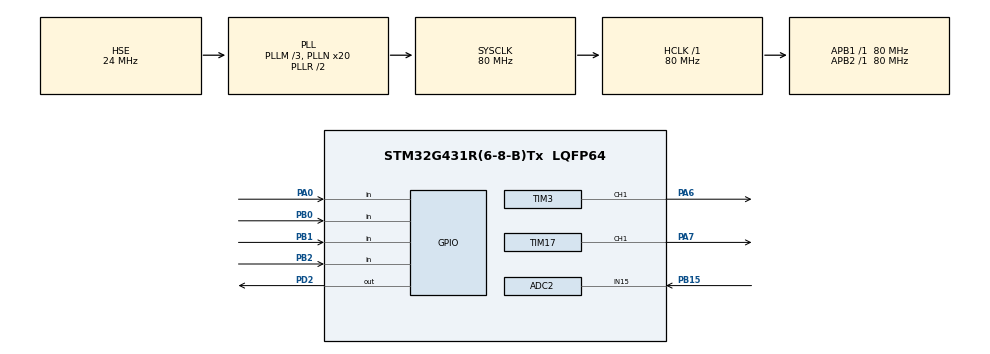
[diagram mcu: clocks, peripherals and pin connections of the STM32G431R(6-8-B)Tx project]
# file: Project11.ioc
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ADC2.Channel-0\#ChannelRegularConversion=ADC_CHANNEL_15
ADC2.NbrOfConversionFlag=1
ADC2.OffsetNumber-0\#ChannelRegularConversion=ADC_OFFSET_NONE
ADC2.Rank-0\#ChannelRegularConversion=1
ADC2.SamplingTime-0\#ChannelRegularConversion=ADC_SAMPLETIME_640CYCLES_5
Mcu.Family=STM32G4
Mcu.Name=STM32G431R(6-8-B)Tx
Mcu.Package=LQFP64
NVIC.PriorityGroup=NVIC_PRIORITYGROUP_4
PA0.Signal=GPIO_Input
PA6.Signal=S_TIM3_CH1
PA7.Signal=S_TIM17_CH1
PB0.Signal=GPIO_Input
PB1.Signal=GPIO_Input
PB15.Mode=IN15-Single-Ended
PB15.Signal=ADC2_IN15
PB2.Signal=GPIO_Input
PD2.PinState=GPIO_PIN_SET
PD2.Signal=GPIO_Output
PF0-OSC_IN.Mode=HSE-External-Oscillator
PF0-OSC_IN.Signal=RCC_OSC_IN
PF1-OSC_OUT.Mode=HSE-External-Oscillator
PF1-OSC_OUT.Signal=RCC_OSC_OUT
ProjectManager.HeapSize=0x200
ProjectManager.StackSize=0x400
ProjectManager.TargetToolchain=MDK-ARM V5.27
RCC.ADC12Freq_Value=80000000
RCC.AHBFreq_Value=80000000
RCC.APB1Freq_Value=80000000
RCC.APB1TimFreq_Value=80000000
RCC.APB2Freq_Value=80000000
RCC.APB2TimFreq_Value=80000000
RCC.CortexFreq_Value=80000000
RCC.EXTERNAL_CLOCK_VALUE=12288000
RCC.HCLKFreq_Value=80000000
RCC.HSE_VALUE=24000000
RCC.HSI48_VALUE=48000000
RCC.HSI_VALUE=16000000
RCC.LSE_VALUE=32768
RCC.PLLM=RCC_PLLM_DIV3
RCC.PLLN=20
RCC.PLLSourceVirtual=RCC_PLLSOURCE_HSE
RCC.SYSCLKFreq_VALUE=80000000
RCC.SYSCLKSource=RCC_SYSCLKSOURCE_PLLCLK
RCC.USBFreq_Value=80000000
RCC.VCOOutputFreq_Value=160000000
SH.S_TIM17_CH1.0=TIM17_CH1,PWM Generation1 CH1
SH.S_TIM3_CH1.0=TIM3_CH1,PWM Generation1 CH1
TIM17.AutoReloadPreload=TIM_AUTORELOAD_PRELOAD_ENABLE
TIM17.Channel=TIM_CHANNEL_1
TIM17.PeriodNoDither=4999
TIM17.Prescaler=79
TIM17.PulseNoDither_1=500
TIM3.AutoReloadPreload=TIM_AUTORELOAD_PRELOAD_ENABLE
TIM3.Channel-PWM\ Generation1\ CH1=TIM_CHANNEL_1
TIM3.PeriodNoDither=9999
TIM3.Prescaler=79
TIM3.PulseNoDither_1=1000
VP_SYS_VS_DBSignals.Mode=DisableDeadBatterySignals
VP_TIM17_VS_ClockSourceINT.Mode=Enable_Timer
VP_TIM3_VS_ClockSourceINT.Mode=Internal
board=custom

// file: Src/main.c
/* USER CODE BEGIN Header */
/**
  ******************************************************************************
  * @file           : main.c
  * @brief          : Main program body
  ******************************************************************************
  * @attention
  *
  * <h2><center>&copy; Copyright (c) 2022 STMicroelectronics.
  * All rights reserved.</center></h2>
  *
  * This software component is licensed by ST under BSD 3-Clause license,
  * the "License"; You may not use this file except in compliance with the
  * License. You may obtain a copy of the License at:
  *                        opensource.org/licenses/BSD-3-Clause
  *
  ******************************************************************************
  */
/* USER CODE END Header */

#include "main.h"
#include "adc.h"
#include "tim.h"
#include "gpio.h"

/* USER CODE BEGIN Includes */
//#include "lcd.h"
/* USER CODE END Includes */

/* USER CODE BEGIN PTD */
uint8_t AUTO_MANU=1;
uint8_t Data_Para=1;
uint8_t Duty_A6=10;
uint8_t Duty_A7=10;
uint8_t Flag_count1=0;
uint8_t Flag_count2=0;
uint8_t str_it[20];
#define B1 HAL_GPIO_ReadPin(GPIOB, GPIO_PIN_0)
#define B2 HAL_GPIO_ReadPin(GPIOB, GPIO_PIN_1)
#define B3 HAL_GPIO_ReadPin(GPIOB, GPIO_PIN_2)
#define B4 HAL_GPIO_ReadPin(GPIOA, GPIO_PIN_0)

/* USER CODE END PTD */

void SystemClock_Config(void);

/* USER CODE BEGIN 0 */
void keyscan(void)
{
	if(Data_Para)
	{
			if(B1==RESET)
			{
				HAL_Delay(10);
				if(B1==RESET)
				{
					Data_Para=!Data_Para;
					LCD_Clear(Black);
//					LCD_SetBackColor(Black);
//					LCD_SetTextColor(White);
					mode_change();
					Control_led12();
				}
				while(!B1);

			}
			else if(B4==RESET)
			{
				HAL_Delay(10);
				if(B4==RESET)
				{
					AUTO_MANU=!AUTO_MANU;
					LCD_Clear(Black);
//					LCD_SetBackColor(Black);
//					LCD_SetTextColor(White);
					mode_change();
					Control_led12();
				}
				while(!B4);

			}
	}
	else
	{
		if(B1==RESET)
		{
			HAL_Delay(10);
			if(B1==RESET)
			{
				Data_Para=!Data_Para;
				LCD_Clear(Black);
//				LCD_SetBackColor(Black);
//				LCD_SetTextColor(White);
				mode_change();
				Control_led12();
			}
			while(!B1);

		}
		if(!AUTO_MANU)
		{
		 if(B2==RESET)
		 {
			HAL_Delay(10);
			if(B2==RESET)
			{
				Duty_A6=Duty_A6+10;
				if(Duty_A6>90)
				Duty_A6=10;
			}
			while(!B2);
		 }
		 else if(B3==RESET)
		 {
			HAL_Delay(10);
			if(B3==RESET)
			{
				Duty_A7=Duty_A7+10;
				if(Duty_A7>90)
				Duty_A7=10;
			}
			while(!B3);
		 }
        }
	}

}

void mode_change(void)
{
	if(Data_Para&&AUTO_MANU)
	{
		Display_Data_Auto();

	}
	else if(Data_Para&&(!AUTO_MANU))
	{
		Display_Data_MANU();
	}
	else if(!Data_Para)
	{
		Display_Para();
	}
}

void Real_Time_Show(void)
{
	if(Flag_count1==1)
	{
		Flag_count1=0;
	if(Data_Para)
	{
	sprintf((char*)str_it,"   V:%.2fV          ",Get_R37value()*3.3/4096);
	LCD_DisplayStringLine(Line2,str_it);
	}
	}
	else if(Flag_count2==1)
	{
		Flag_count2=0;
		if(AUTO_MANU&&(!Data_Para))
		{
			sprintf((char*)str_it,"  PA6:%2d%%         ",Get_R37value()*100/4096);
			__HAL_TIM_SET_COMPARE(&htim3,TIM_CHANNEL_1,Get_R37value()*10000/4096);
			LCD_DisplayStringLine(Line2,str_it);
			sprintf((char*)str_it,"  PA7:%2d%%         ",Get_R37value()*100/4096);
			__HAL_TIM_SET_COMPARE(&htim17,TIM_CHANNEL_1,Get_R37value()*5000/4096);//time3����ֵΪ10000��time17����ֵΪ5000
			LCD_DisplayStringLine(Line4,str_it);
		}
		else if((!AUTO_MANU)&&(!Data_Para))
		{
			sprintf((char*)str_it,"  PA6:%2d%%         ",Duty_A6);
			__HAL_TIM_SET_COMPARE(&htim3,TIM_CHANNEL_1,100*Duty_A6);
			LCD_DisplayStringLine(Line2,str_it);
			sprintf((char*)str_it,"  PA7:%2d%%         ",Duty_A7);
			__HAL_TIM_SET_COMPARE(&htim17,TIM_CHANNEL_1,50*Duty_A7);
			LCD_DisplayStringLine(Line4,str_it);
		}
		else if(AUTO_MANU&&Data_Para)
		{
			__HAL_TIM_SET_COMPARE(&htim3,TIM_CHANNEL_1,Get_R37value()*10000/4096);
			__HAL_TIM_SET_COMPARE(&htim17,TIM_CHANNEL_1,Get_R37value()*5000/4096);

		}
		else if((!AUTO_MANU)&&Data_Para)
		{
			__HAL_TIM_SET_COMPARE(&htim3,TIM_CHANNEL_1,100*Duty_A6);
			__HAL_TIM_SET_COMPARE(&htim17,TIM_CHANNEL_1,50*Duty_A7);

		}
	}
}

/* USER CODE END 0 */

int main(void)
{

  /* MCU Configuration--------------------------------------------------------*/

  /* Reset of all peripherals, Initializes the Flash interface and the Systick. */
  HAL_Init();

  /* Configure the system clock */
  SystemClock_Config();

  /* Initialize all configured peripherals */
  MX_GPIO_Init();
  MX_ADC2_Init();
  MX_TIM3_Init();
  MX_TIM17_Init();
  /* USER CODE BEGIN 2 */
	LCD_Init();
	Close_led();
	LCD_Clear(Black);
	LCD_SetBackColor(Black);
	LCD_SetTextColor(White);
	Display_Data_Auto();
	Control_led12();
	HAL_TIM_PWM_Start(&htim3, TIM_CHANNEL_1);
	HAL_TIM_PWM_Start(&htim17, TIM_CHANNEL_1);
  /* USER CODE END 2 */

  /* Infinite loop */
  /* USER CODE BEGIN WHILE */
  while (1)
  {

	  keyscan();
	  Real_Time_Show();
	  //mode_change();
    /* USER CODE END WHILE */

  }
}

void SystemClock_Config(void)
{
  RCC_OscInitTypeDef RCC_OscInitStruct = {0};
  RCC_ClkInitTypeDef RCC_ClkInitStruct = {0};
  RCC_PeriphCLKInitTypeDef PeriphClkInit = {0};

  /** Configure the main internal regulator output voltage
  */
  HAL_PWREx_ControlVoltageScaling(PWR_REGULATOR_VOLTAGE_SCALE1);
  /** Initializes the CPU, AHB and APB busses clocks
  */
  RCC_OscInitStruct.OscillatorType = RCC_OSCILLATORTYPE_HSE;
  RCC_OscInitStruct.HSEState = RCC_HSE_ON;
  RCC_OscInitStruct.PLL.PLLState = RCC_PLL_ON;
  RCC_OscInitStruct.PLL.PLLSource = RCC_PLLSOURCE_HSE;
  RCC_OscInitStruct.PLL.PLLM = RCC_PLLM_DIV3;
  RCC_OscInitStruct.PLL.PLLN = 20;
  RCC_OscInitStruct.PLL.PLLP = RCC_PLLP_DIV2;
  RCC_OscInitStruct.PLL.PLLQ = RCC_PLLQ_DIV2;
  RCC_OscInitStruct.PLL.PLLR = RCC_PLLR_DIV2;
  if (HAL_RCC_OscConfig(&RCC_OscInitStruct) != HAL_OK)
  {
    Error_Handler();
  }
  /** Initializes the CPU, AHB and APB busses clocks
  */
  RCC_ClkInitStruct.ClockType = RCC_CLOCKTYPE_HCLK|RCC_CLOCKTYPE_SYSCLK
                              |RCC_CLOCKTYPE_PCLK1|RCC_CLOCKTYPE_PCLK2;
  RCC_ClkInitStruct.SYSCLKSource = RCC_SYSCLKSOURCE_PLLCLK;
  RCC_ClkInitStruct.AHBCLKDivider = RCC_SYSCLK_DIV1;
  RCC_ClkInitStruct.APB1CLKDivider = RCC_HCLK_DIV1;
  RCC_ClkInitStruct.APB2CLKDivider = RCC_HCLK_DIV1;

  if (HAL_RCC_ClockConfig(&RCC_ClkInitStruct, FLASH_LATENCY_3) != HAL_OK)
  {
    Error_Handler();
  }
  /** Initializes the peripherals clocks
  */
  PeriphClkInit.PeriphClockSelection = RCC_PERIPHCLK_ADC12;
  PeriphClkInit.Adc12ClockSelection = RCC_ADC12CLKSOURCE_SYSCLK;
  if (HAL_RCCEx_PeriphCLKConfig(&PeriphClkInit) != HAL_OK)
  {
    Error_Handler();
  }
}

void Error_Handler(void)
{
}

/************************ (C) COPYRIGHT STMicroelectronics *****END OF FILE****/
